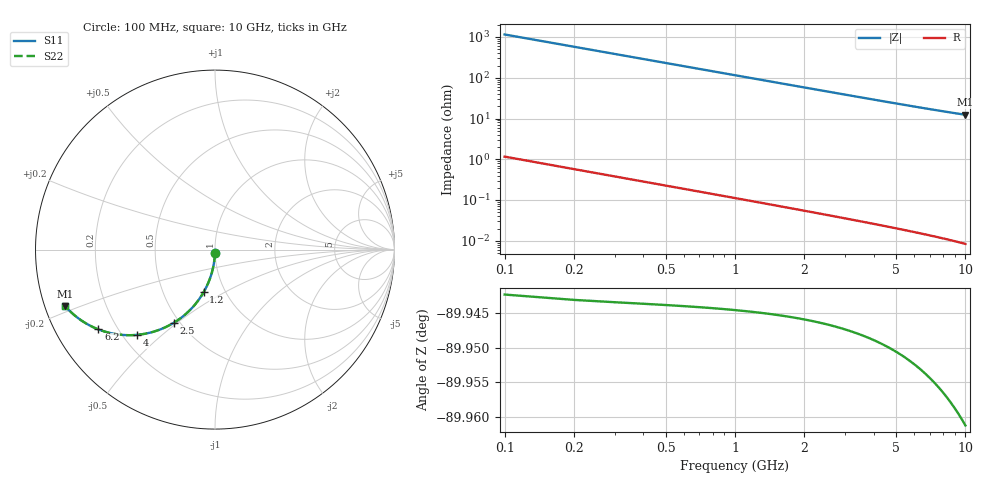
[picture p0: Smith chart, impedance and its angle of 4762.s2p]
# Hz S RI R 50.00
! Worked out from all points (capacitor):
!   100 points, 100 MHz to 10 GHz, reference 50 ohm
!   read as one part in shunt: C = 1.38 pF near 100 MHz
!   lowest |Z| = 12.4 ohm at 10 GHz (marker M1)
!   S11 on the Smith chart (normalised r, x): 100 MHz: 1.00, -0.04; 1.2 GHz: 0.79, -0.40; 2.5 GHz: 0.47, -0.49; 4 GHz: 0.26, -0.42; 6.2 GHz: 0.13, -0.30; 10 GHz: 0.06, -0.18
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1e8  -0.000358 -0.0211  0.9994 -0.0221  0.9994 -0.0221  -0.000358 -0.0211
2e8  -0.00178 -0.0422  0.998 -0.0442  0.998 -0.0442  -0.00178 -0.0422
3e8  -0.00413 -0.0632  0.9956 -0.0662  0.9956 -0.0662  -0.00413 -0.0632
4e8  -0.00739 -0.0839  0.9923 -0.0879  0.9923 -0.0879  -0.00739 -0.0839
5e8  -0.0115 -0.1045  0.9882 -0.1095  0.9882 -0.1095  -0.0115 -0.1045
6e8  -0.0166 -0.1247  0.9831 -0.1307  0.9831 -0.1307  -0.0166 -0.1247
7e8  -0.0225 -0.1446  0.9773 -0.1516  0.9773 -0.1516  -0.0225 -0.1446
9e8  -0.0366 -0.1832  0.9631 -0.1922  0.9631 -0.1922  -0.0366 -0.1832
1.2e9  -0.0634 -0.2374  0.9363 -0.2494  0.9363 -0.2494  -0.0634 -0.2374
1.5e9  -0.0957 -0.2864  0.904 -0.3014  0.904 -0.3014  -0.0957 -0.2864
1.8e9  -0.1323 -0.3295  0.8673 -0.3475  0.8673 -0.3475  -0.1323 -0.3295
2.1e9  -0.172 -0.3666  0.8275 -0.3876  0.8275 -0.3876  -0.172 -0.3666
2.5e9  -0.2277 -0.4065  0.7717 -0.4316  0.7717 -0.4316  -0.2277 -0.4065
2.9e9  -0.2844 -0.4362  0.7149 -0.4653  0.7149 -0.4653  -0.2844 -0.4362
3.4e9  -0.3539 -0.4607  0.6453 -0.4949  0.6453 -0.4949  -0.3539 -0.4607
4e9  -0.432 -0.4747  0.5669 -0.5151  0.5669 -0.5151  -0.432 -0.4747
5.1e9  -0.5547 -0.4705  0.4436 -0.5223  0.4436 -0.5223  -0.5547 -0.4705
6.2e9  -0.65 -0.4443  0.3477 -0.5078  0.3477 -0.5078  -0.65 -0.4443
6.7e9  -0.6853 -0.4289  0.312 -0.4977  0.312 -0.4977  -0.6853 -0.4289
7.5e9  -0.7332 -0.4021  0.2634 -0.4796  0.2634 -0.4796  -0.7332 -0.4021
8.4e9  -0.7766 -0.3708  0.2192 -0.4583  0.2192 -0.4583  -0.7766 -0.3708
1e10  -0.8333 -0.3165  0.1607 -0.4223  0.1607 -0.4223  -0.8333 -0.3165
